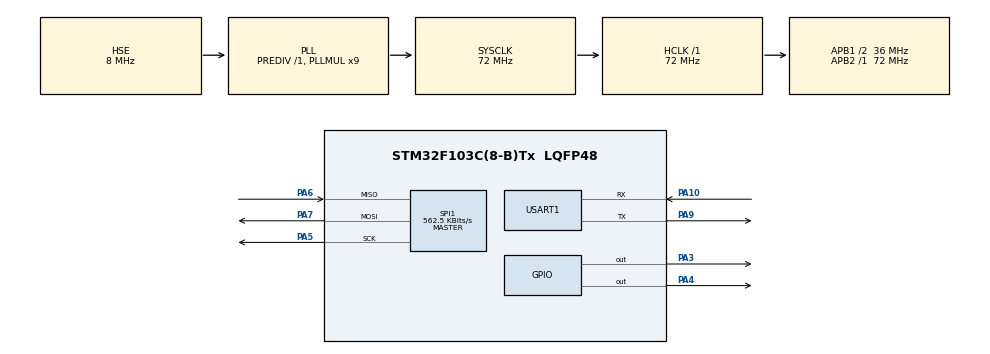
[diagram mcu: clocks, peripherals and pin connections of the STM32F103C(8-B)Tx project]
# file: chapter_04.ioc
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Mcu.Family=STM32F1
Mcu.Name=STM32F103C(8-B)Tx
Mcu.Package=LQFP48
NVIC.PriorityGroup=NVIC_PRIORITYGROUP_4
PA10.Mode=Asynchronous
PA10.Signal=USART1_RX
PA13.Mode=Serial_Wire
PA13.Signal=SYS_JTMS-SWDIO
PA14.Mode=Serial_Wire
PA14.Signal=SYS_JTCK-SWCLK
PA3.PinState=GPIO_PIN_SET
PA3.Signal=GPIO_Output
PA4.PinState=GPIO_PIN_SET
PA4.Signal=GPIO_Output
PA5.Mode=Full_Duplex_Master
PA5.Signal=SPI1_SCK
PA6.Mode=Full_Duplex_Master
PA6.Signal=SPI1_MISO
PA7.Mode=Full_Duplex_Master
PA7.Signal=SPI1_MOSI
PA9.Mode=Asynchronous
PA9.Signal=USART1_TX
PD0-OSC_IN.Mode=HSE-External-Oscillator
PD0-OSC_IN.Signal=RCC_OSC_IN
PD1-OSC_OUT.Mode=HSE-External-Oscillator
PD1-OSC_OUT.Signal=RCC_OSC_OUT
ProjectManager.HeapSize=0x200
ProjectManager.StackSize=0x400
ProjectManager.TargetToolchain=MDK-ARM V5
RCC.AHBFreq_Value=72000000
RCC.APB1CLKDivider=RCC_HCLK_DIV2
RCC.APB1Freq_Value=36000000
RCC.APB1TimFreq_Value=72000000
RCC.APB2Freq_Value=72000000
RCC.APB2TimFreq_Value=72000000
RCC.HCLKFreq_Value=72000000
RCC.PLLMUL=RCC_PLL_MUL9
RCC.PLLSourceVirtual=RCC_PLLSOURCE_HSE
RCC.SYSCLKFreq_VALUE=72000000
RCC.SYSCLKSource=RCC_SYSCLKSOURCE_PLLCLK
RCC.USBFreq_Value=72000000
SPI1.BaudRatePrescaler=SPI_BAUDRATEPRESCALER_128
SPI1.CalculateBaudRate=562.5 KBits/s
SPI1.Direction=SPI_DIRECTION_2LINES
SPI1.Mode=SPI_MODE_MASTER
SPI1.VirtualType=VM_MASTER
USART1.VirtualMode=VM_ASYNC
board=custom

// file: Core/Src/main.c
/* USER CODE BEGIN Header */
/**
  ******************************************************************************
  * @file           : main.c
  * @brief          : Main program body
  ******************************************************************************
  * @attention
  *
  * Copyright (c) 2026 STMicroelectronics.
  * All rights reserved.
  *
  * This software is licensed under terms that can be found in the LICENSE file
  * in the root directory of this software component.
  * If no LICENSE file comes with this software, it is provided AS-IS.
  *
  ******************************************************************************
  */
/* USER CODE END Header */
#include "main.h"
#include "spi.h"
#include "usart.h"
#include "gpio.h"

/* USER CODE BEGIN Includes */
#include <stdio.h>
#include <string.h>
#include "rc522.h"
/* USER CODE END Includes */

/* USER CODE BEGIN PV */
uint8_t lastUid[4] = {0};
uint8_t cardPresent = 0;
static uint8_t writeDone = 0;   // 保证写块测试只执行一次
/* USER CODE END PV */

void SystemClock_Config(void);

int main(void)
{

  /* MCU Configuration--------------------------------------------------------*/

  /* Reset of all peripherals, Initializes the Flash interface and the Systick. */
  HAL_Init();

  /* Configure the system clock */
  SystemClock_Config();

  /* Initialize all configured peripherals */
  MX_GPIO_Init();
  MX_SPI1_Init();
  MX_USART1_UART_Init();
  /* USER CODE BEGIN 2 */

	/* 测试串口是否正常  */
	uint8_t testMsg[] = "UART Direct Test OK\r\n";
	HAL_UART_Transmit(&huart1, testMsg, sizeof(testMsg)-1, 1000);
	HAL_Delay(500);

	RC522_Init();
	HAL_Delay(100);

	uint8_t version = RC522_ReadReg(VersionReg);
	printf("RC522 Version: 0x%02X\r\n", version);

	if (version == 0x91 || version == 0x92) {
					printf("MFRC522 Version %d.0 detected.\r\n", version & 0x0F);
	} else {
					printf("RC522 communication error!\r\n");
					while (1);
	}
  /* USER CODE END 2 */

  /* Infinite loop */
  while (1)
  {

    /* USER CODE BEGIN 3 */
    uint8_t tagType[2];
		uint8_t uid[4];
		uint8_t st;
		uint8_t i;

		// 1. 寻卡
    st = RC522_Request(PICC_REQALL, tagType);
    if (st != MI_OK) {
        cardPresent = 0;    // 没卡，恢复待机
        HAL_Delay(300);
        continue;
    }

    // 2. 防冲突获取UID
    st = RC522_Anticoll(uid);
    if (st != MI_OK) {
        HAL_Delay(300);
        continue;
    }

    // 3. 选卡
    st = RC522_Select(uid);
    if (st != MI_OK) {
        printf("RC522_Select failed! Error: %d\r\n", st);
        RC522_Halt();
        HAL_Delay(300);
        continue;
    }

    // 4. 消抖判断
    if (memcmp(uid, lastUid, 4) != 0 || !cardPresent) {
        printf("\r\n--- New Card Detected ---\r\n");
        printf("Card UID: %02X %02X %02X %02X\r\n", uid[0], uid[1], uid[2], uid[3]);

        memcpy(lastUid, uid, 4);
        cardPresent = 1;

        // ========== MIFARE 安全读写测试 ==========
        uint8_t defaultKey[6] = {0xFF, 0xFF, 0xFF, 0xFF, 0xFF, 0xFF};
        uint8_t wrongKey[6]   = {0x11, 0x22, 0x33, 0x44, 0x55, 0x66};
        uint8_t newData[16]   = {'2','0','2','3','0','0','0','1','Z','h','a','n','g',0,0,0};
        uint8_t readData[16];

        // 1. 默认密钥认证并读取数据块4
        printf("--- 1. Read Test ---\r\n");
        if (MIFARE_Auth(4, PICC_AUTHENT1A, defaultKey, uid) == MI_OK) {
            printf("Auth(default key FFFFFFFFFFFF) OK\r\n");
            if (MIFARE_ReadBlock(4, readData) == MI_OK) {
                printf("Block 4 raw data: ");
                for (i = 0; i < 16; i++) printf("%02X ", readData[i]);
                printf("\r\n");
            } else {
                printf("Read block 4 failed\r\n");
            }

            // 2. 写入数据并读回（紧跟在读操作后，趁认证状态还在）
            if (!writeDone) {
                printf("--- 2. Write Test ---\r\n");
                if (MIFARE_WriteBlock(4, newData) == MI_OK) {
                    printf("Write block 4 OK\r\n");
                    if (MIFARE_ReadBlock(4, readData) == MI_OK) {
                        printf("Read back block 4: ");
                        for (i = 0; i < 16; i++) printf("%02X ", readData[i]);
                        printf("\r\n");
                    }
                } else {
                    printf("Write block 4 failed\r\n");
                }
                writeDone = 1;
            }

        } else {
            printf("Auth(default key) failed\r\n");
        }

        // 3. 错误密钥认证对比（放到最后，因为只要错误就会退出认证态）
        printf("--- 3. Wrong Key Test ---\r\n");
        if (MIFARE_Auth(4, PICC_AUTHENT1A, wrongKey, uid) == MI_OK) {
            printf("Wrong key accepted? ERROR\r\n");
        } else {
            printf("Wrong key rejected, auth failed as expected\r\n");
        }
    }

    RC522_Halt();
    HAL_Delay(500);
  }
  /* USER CODE END 3 */
}

void SystemClock_Config(void)
{
  RCC_OscInitTypeDef RCC_OscInitStruct = {0};
  RCC_ClkInitTypeDef RCC_ClkInitStruct = {0};

  /** Initializes the RCC Oscillators according to the specified parameters
  * in the RCC_OscInitTypeDef structure.
  */
  RCC_OscInitStruct.OscillatorType = RCC_OSCILLATORTYPE_HSE;
  RCC_OscInitStruct.HSEState = RCC_HSE_ON;
  RCC_OscInitStruct.HSEPredivValue = RCC_HSE_PREDIV_DIV1;
  RCC_OscInitStruct.HSIState = RCC_HSI_ON;
  RCC_OscInitStruct.PLL.PLLState = RCC_PLL_ON;
  RCC_OscInitStruct.PLL.PLLSource = RCC_PLLSOURCE_HSE;
  RCC_OscInitStruct.PLL.PLLMUL = RCC_PLL_MUL9;
  if (HAL_RCC_OscConfig(&RCC_OscInitStruct) != HAL_OK)
  {
    Error_Handler();
  }

  /** Initializes the CPU, AHB and APB buses clocks
  */
  RCC_ClkInitStruct.ClockType = RCC_CLOCKTYPE_HCLK|RCC_CLOCKTYPE_SYSCLK
                              |RCC_CLOCKTYPE_PCLK1|RCC_CLOCKTYPE_PCLK2;
  RCC_ClkInitStruct.SYSCLKSource = RCC_SYSCLKSOURCE_PLLCLK;
  RCC_ClkInitStruct.AHBCLKDivider = RCC_SYSCLK_DIV1;
  RCC_ClkInitStruct.APB1CLKDivider = RCC_HCLK_DIV2;
  RCC_ClkInitStruct.APB2CLKDivider = RCC_HCLK_DIV1;

  if (HAL_RCC_ClockConfig(&RCC_ClkInitStruct, FLASH_LATENCY_2) != HAL_OK)
  {
    Error_Handler();
  }
}

/* USER CODE BEGIN 4 */
int fputc(int ch, FILE *f)
{
    HAL_UART_Transmit(&huart1, (uint8_t *)&ch, 1, 100);
    return ch;
}
/* USER CODE END 4 */

void Error_Handler(void)
{
  __disable_irq();
  while (1)
  {
  }
}
